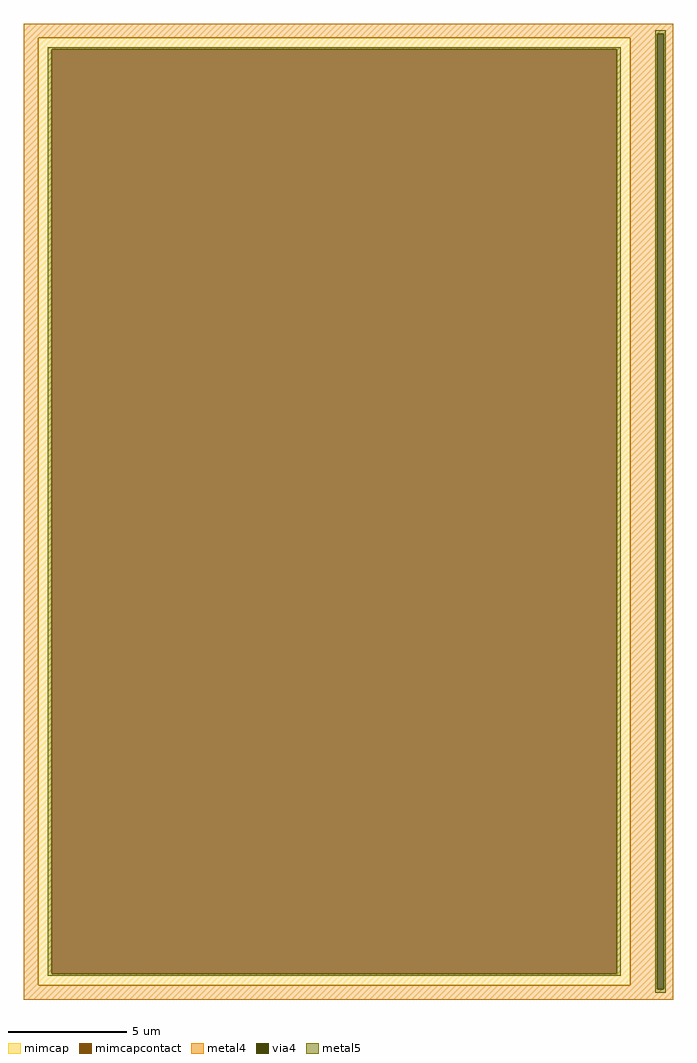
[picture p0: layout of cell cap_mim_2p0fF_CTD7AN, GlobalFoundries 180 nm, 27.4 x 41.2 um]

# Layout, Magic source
magic
tech gf180mcuD
magscale 1 10
<< mimcap >>
rect -2620 3904 2380 4000
rect -2620 -3904 -2504 3904
rect 2264 -3904 2380 3904
rect -2620 -4000 2380 -3904
<< mimcapcontact >>
rect -2504 -3904 2264 3904
<< metal4 >>
rect -2740 4032 2740 4120
rect -2740 4000 2606 4032
rect -2740 -4000 -2620 4000
rect 2380 -4000 2606 4000
rect -2740 -4032 2606 -4000
rect 2662 -4032 2740 4032
rect -2740 -4120 2740 -4032
<< via4 >>
rect 2606 -4032 2662 4032
<< metal5 >>
rect 2590 4032 2678 4063
rect -2540 3904 2300 3920
rect -2540 -3904 -2504 3904
rect 2264 -3904 2300 3904
rect -2540 -3920 2300 -3904
rect 2590 -4032 2606 4032
rect 2662 -4032 2678 4032
rect 2590 -4063 2678 -4032
<< properties >>
string FIXED_BBOX -2740 -4120 2500 4120
<< end >>
